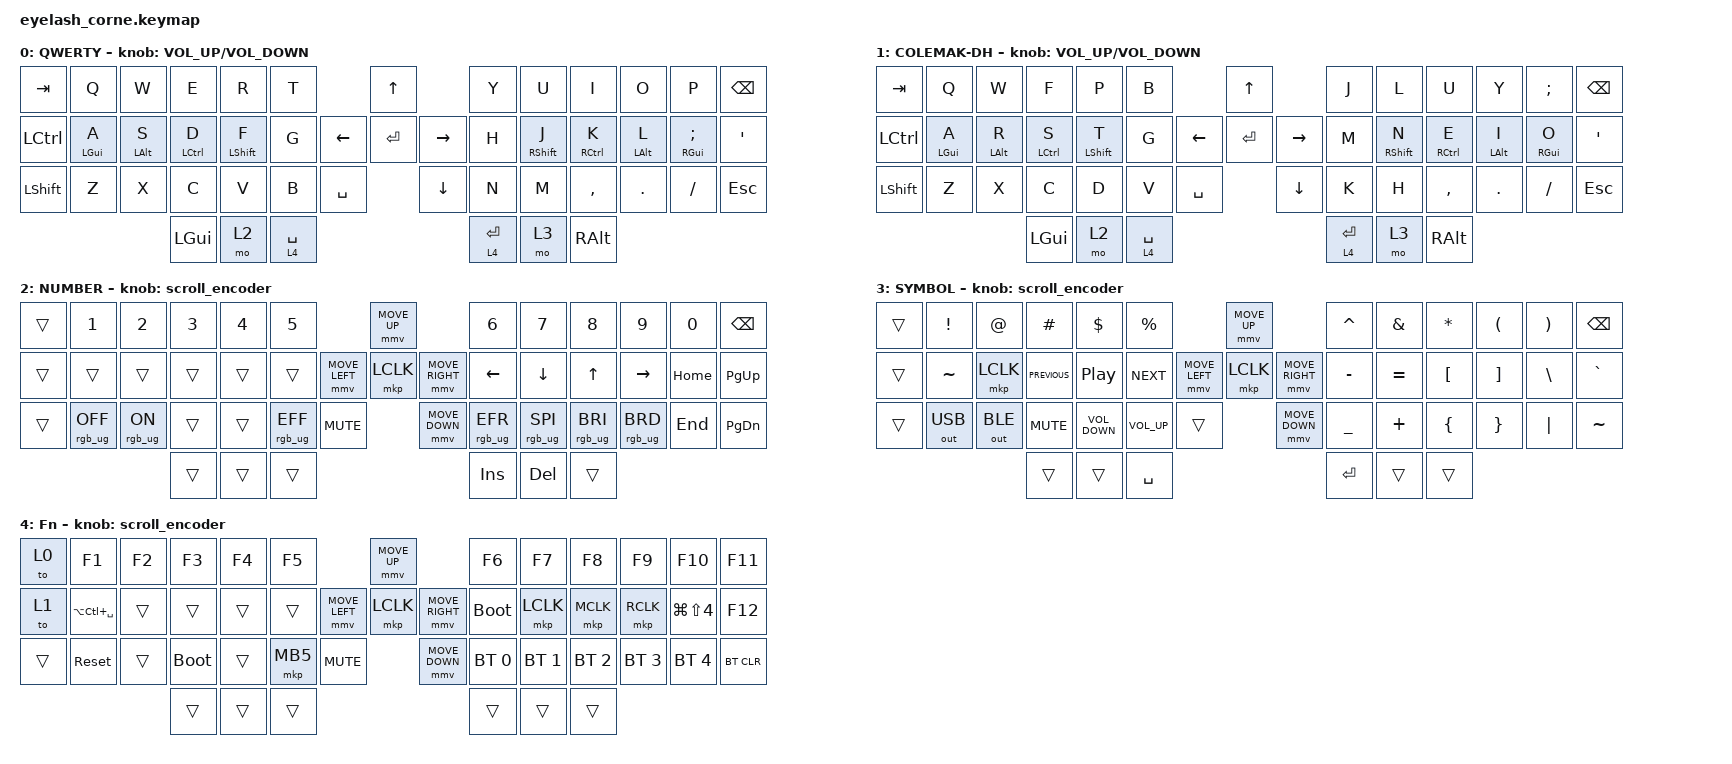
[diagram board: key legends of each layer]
#define ZMK_POINTING_DEFAULT_MOVE_VAL 1200  // 600
#define ZMK_POINTING_DEFAULT_SCRL_VAL 25   // 10

#include <input/processors.dtsi>
#include <zephyr/dt-bindings/input/input-event-codes.h>
#include <behaviors.dtsi>
#include <dt-bindings/zmk/bt.h>
#include <dt-bindings/zmk/keys.h>
#include <dt-bindings/zmk/outputs.h>
#include <dt-bindings/zmk/pointing.h>
#include <dt-bindings/zmk/rgb.h>

&mmv_input_listener { input-processors = <&zip_xy_scaler 2 1>; };

&msc_input_listener { input-processors = <&zip_scroll_scaler 2 1>; };

&msc {
    acceleration-exponent = <1>;      // 0
    time-to-max-speed-ms = <100>;       // 300
    delay-ms = <0>;                   // 0
};

&mmv {
    time-to-max-speed-ms = <500>;
    acceleration-exponent = <1>;
    trigger-period-ms = <16>;
};

&soft_off { hold-time-ms = <2000>; };

/ {
    behaviors {
        td0: td0 {
            compatible = "zmk,behavior-tap-dance";
            display-name = "Shift/Caps Lock Tap Dance";
            #binding-cells = <0>;
            bindings = <&kp LEFT_SHIFT>, <&kp CAPS>;
        };

        HMR: HMR {
            compatible = "zmk,behavior-hold-tap";
            label = "HMR";
            bindings = <&kp>, <&kp>;

            #binding-cells = <2>;
            tapping-term-ms = <200>;
            quick-tap-ms = <200>;
            flavor = "tap-preferred";
            hold-trigger-key-positions = <0 1 2 3 4 5 16 17 18 31 32 33 34 42 43 44 13 14 15 28 29 30 45 46 47>;
            hold-trigger-on-release;
        };

        HML: HML {
            compatible = "zmk,behavior-hold-tap";
            label = "HML";
            bindings = <&kp>, <&kp>;

            #binding-cells = <2>;
            tapping-term-ms = <200>;
            quick-tap-ms = <200>;
            flavor = "tap-preferred";
            hold-trigger-key-positions = <7 8 9 10 11 12 22 23 24 25 26 27 36 37 38 39 40 41 45 46 47 42 43 44>;
            hold-trigger-on-release;
        };
    };

    rgb_encoder: rgb_encoder {
        compatible = "zmk,behavior-sensor-rotate";
        #sensor-binding-cells = <0>;
        bindings = <&rgb_ug RGB_BRI>, <&rgb_ug RGB_BRD>;
    };

    scroll_encoder: scroll_encoder {
        compatible = "zmk,behavior-sensor-rotate";
        #sensor-binding-cells = <0>;
        bindings = <&msc SCRL_DOWN>, <&msc SCRL_UP>;

        tap-ms = <100>;
    };

    combos {
        compatible = "zmk,combos";

        softoff {
            bindings = <&soft_off>;
            key-positions = <1 15 29>;
        };
    };

    keymap {
        compatible = "zmk,keymap";

        default_layer {
            display-name = "QWERTY";
            bindings = <
&kp TAB    &kp Q            &kp W            &kp E                &kp R              &kp T                               &kp UP                &kp Y        &kp U               &kp I                 &kp O            &kp P                &kp BSPC
&kp LCTRL  &HML LEFT_GUI A  &HML LEFT_ALT S  &HML LEFT_CONTROL D  &HML LEFT_SHIFT F  &kp G                     &kp LEFT  &kp ENTER  &kp RIGHT  &kp H        &HMR RIGHT_SHIFT J  &HMR RIGHT_CONTROL K  &HMR LEFT_ALT L  &HMR RIGHT_GUI SEMI  &kp SQT
&kp LSHFT  &kp Z            &kp X            &kp C                &kp V              &kp B        &kp SPACE              &kp DOWN              &kp N        &kp M               &kp COMMA             &kp DOT          &kp FSLH             &kp ESC
                                             &kp LGUI             &mo 2              &lt 4 SPACE                                               &lt 4 ENTER  &mo 3               &kp RALT
            >;

            sensor-bindings = <&inc_dec_kp C_VOLUME_UP C_VOLUME_DOWN>;
        };

        colemak_layer {
            display-name = "COLEMAK-DH";
            bindings = <
&kp TAB    &kp Q            &kp W            &kp F                &kp P              &kp B                               &kp UP                &kp J        &kp L               &kp U                 &kp Y            &kp SEMI          &kp BSPC
&kp LCTRL  &HML LEFT_GUI A  &HML LEFT_ALT R  &HML LEFT_CONTROL S  &HML LEFT_SHIFT T  &kp G                     &kp LEFT  &kp ENTER  &kp RIGHT  &kp M        &HMR RIGHT_SHIFT N  &HMR RIGHT_CONTROL E  &HMR LEFT_ALT I  &HMR RIGHT_GUI O  &kp SQT
&kp LSHFT  &kp Z            &kp X            &kp C                &kp D              &kp V        &kp SPACE              &kp DOWN              &kp K        &kp H               &kp COMMA             &kp DOT          &kp FSLH          &kp ESC
                                             &kp LGUI             &mo 2              &lt 4 SPACE                                               &lt 4 ENTER  &mo 3               &kp RALT
            >;

            sensor-bindings = <&inc_dec_kp C_VOLUME_UP C_VOLUME_DOWN>;
        };

        lower_layer {
            display-name = "NUMBER";
            bindings = <
&trans  &kp N1           &kp N2          &kp N3  &kp N4  &kp N5                                         &mmv MOVE_UP                     &kp N6           &kp N7           &kp N8           &kp N9           &kp N0    &kp BSPC
&trans  &trans           &trans          &trans  &trans  &trans                         &mmv MOVE_LEFT  &mkp LCLK       &mmv MOVE_RIGHT  &kp LEFT         &kp DOWN         &kp UP           &kp RIGHT        &kp HOME  &kp PG_UP
&trans  &rgb_ug RGB_OFF  &rgb_ug RGB_ON  &trans  &trans  &rgb_ug RGB_EFF  &kp C_MUTE                    &mmv MOVE_DOWN                   &rgb_ug RGB_EFR  &rgb_ug RGB_SPI  &rgb_ug RGB_BRI  &rgb_ug RGB_BRD  &kp END   &kp PG_DN
                                         &trans  &trans  &trans                                                                          &kp INS          &kp DEL          &trans
            >;

            sensor-bindings = <&scroll_encoder>;
        };

        raise_layer {
            display-name = "SYMBOL";
            bindings = <
&trans  &kp EXCL      &kp AT        &kp HASH        &kp DLLR           &kp PRCNT                                  &mmv MOVE_UP                     &kp CARET  &kp AMPS   &kp ASTRK  &kp LPAR  &kp RPAR  &kp BSPC
&trans  &kp TILDE     &mkp LCLK     &kp C_PREVIOUS  &kp C_PLAY_PAUSE   &kp C_NEXT                 &mmv MOVE_LEFT  &mkp LCLK       &mmv MOVE_RIGHT  &kp MINUS  &kp EQUAL  &kp LBKT   &kp RBKT  &kp BSLH  &kp GRAVE
&trans  &out OUT_USB  &out OUT_BLE  &kp K_MUTE      &kp C_VOLUME_DOWN  &kp C_VOLUME_UP  &trans                    &mmv MOVE_DOWN                   &kp UNDER  &kp PLUS   &kp LBRC   &kp RBRC  &kp PIPE  &kp TILDE
                                    &trans          &trans             &kp SPACE                                                                   &kp RET    &trans     &trans
            >;

            sensor-bindings = <&scroll_encoder>;
        };

        layer_4 {
            display-name = "Fn";
            bindings = <
&to 0   &kp F1             &kp F2  &kp F3       &kp F4  &kp F5                                  &mmv MOVE_UP                     &kp F6        &kp F7        &kp F8        &kp F9        &kp F10               &kp F11
&to 1   &kp LA(LC(SPACE))  &trans  &trans       &trans  &trans                  &mmv MOVE_LEFT  &mkp LCLK       &mmv MOVE_RIGHT  &bootloader   &mkp LCLK     &mkp MCLK     &mkp RCLK     &kp LG(LS(NUMBER_4))  &kp F12
&trans  &sys_reset         &trans  &bootloader  &trans  &mkp MB5  &kp C_MUTE                    &mmv MOVE_DOWN                   &bt BT_SEL 0  &bt BT_SEL 1  &bt BT_SEL 2  &bt BT_SEL 3  &bt BT_SEL 4          &bt BT_CLR
                                   &trans       &trans  &trans                                                                   &trans        &trans        &trans
            >;

            sensor-bindings = <&scroll_encoder>;
        };
    };
};
